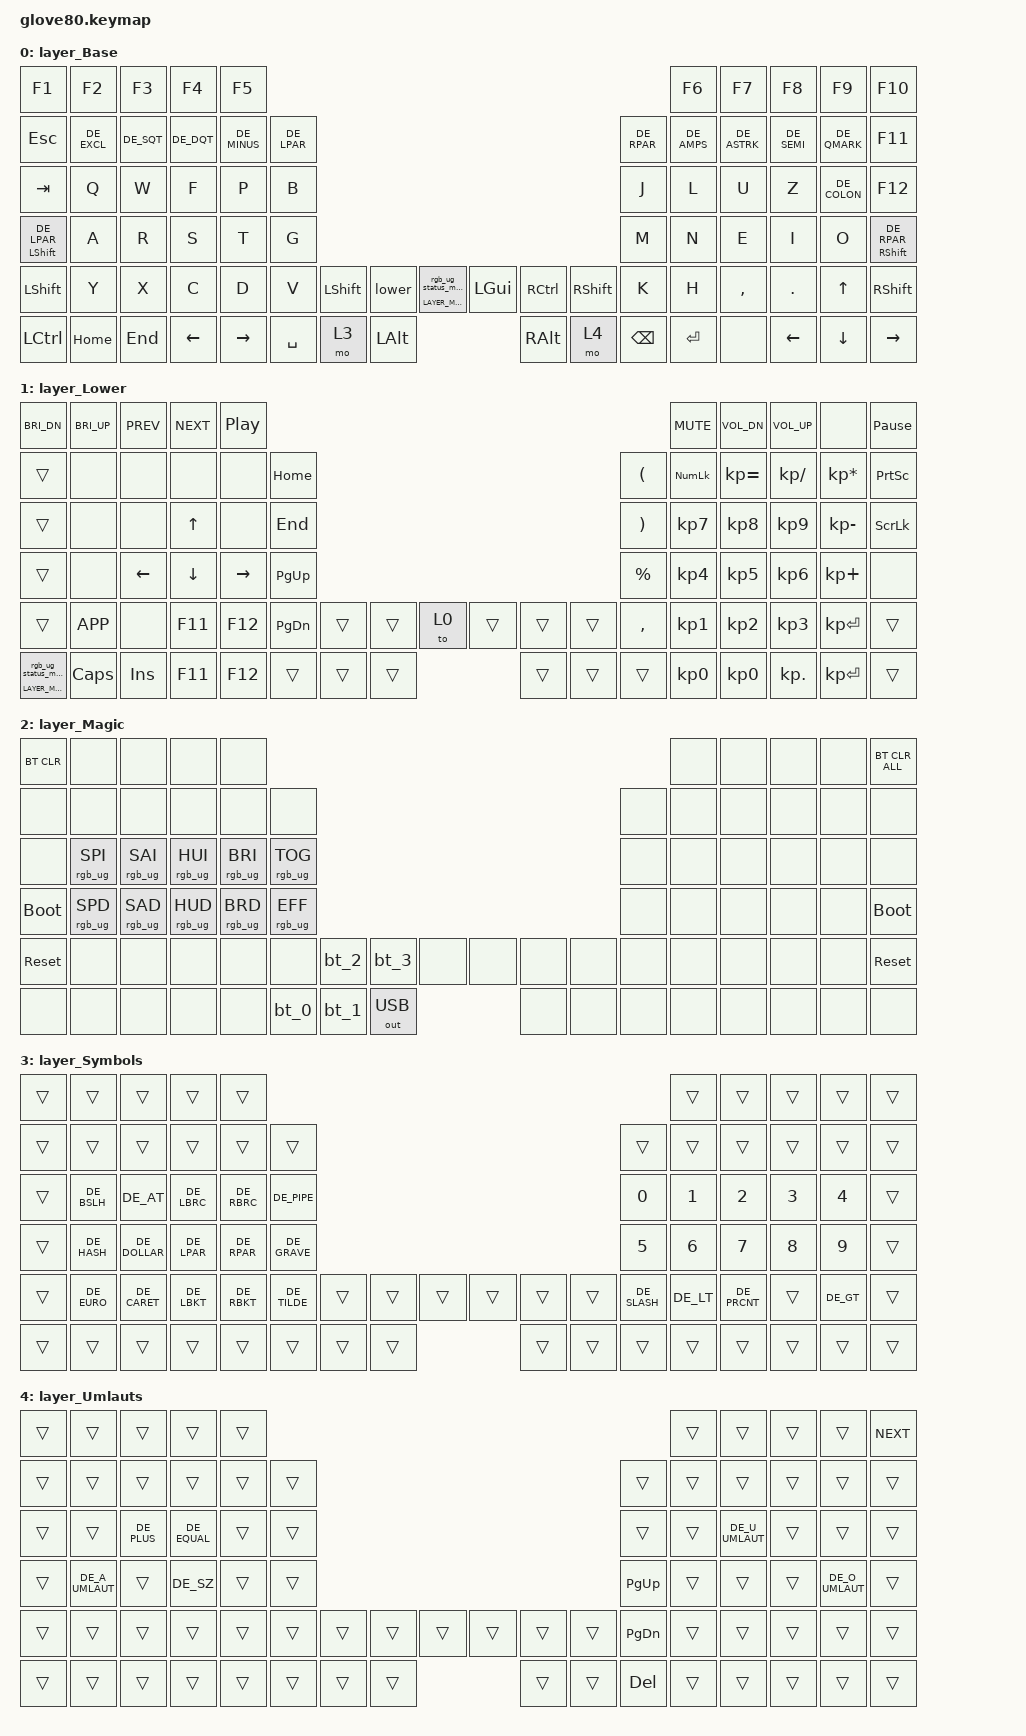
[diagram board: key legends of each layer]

/*
 * Copyright (c) 2020 The ZMK Contributors
 * Copyright (c) 2023 Innaworks Development Limited, trading as MoErgo
 *
 * SPDX-License-Identifier: MIT
 */


/* THIS FILE WAS GENERATED BY GLOVE80 LAYOUT EDITOR
 *
 * This file was generated automatically. You may or may not want to
 * edit it directly.
 */

#include <behaviors.dtsi>
/* Include all behaviour includes needed */
#include <dt-bindings/zmk/outputs.h>
#include <dt-bindings/zmk/keys.h>
#include "keys_de.h"
#include <dt-bindings/zmk/bt.h>
#include <dt-bindings/zmk/rgb.h>

/* Automatically generated layer name #define */
#define LAYER_Base 0
#define LAYER_Lower 1
#define LAYER_Magic 2
#define LAYER_Symbols 3
#define LAYER_Umlauts 4

/* To deal with the situation where there is no Lower layer, to keep &lower happy */
#ifndef LAYER_Lower
#define LAYER_Lower 0
#endif

&lt {
    tapping-term-ms = <200>;
    quick-tap-ms = <100>;
};

/ {
    /* Glove80 system behavior & macros */
    behaviors {
        // For the "layer" key, it'd nice to be able to use it as either a shift or a toggle.
        // Configure it as a tap dance, so the first tap (or hold) is a &mo and the second tap is a &to
        lower: lower {
            compatible = "zmk,behavior-tap-dance";
            label = "LAYER_TAP_DANCE";
            #binding-cells = <0>;
            tapping-term-ms = <200>;
            bindings = <&mo LAYER_Lower>, <&to LAYER_Lower>;
        };
    };
};

/ {
    macros {
        rgb_ug_status_macro: rgb_ug_status_macro {
            label = "RGB_UG_STATUS";
            compatible = "zmk,behavior-macro";
            #binding-cells = <0>;
            bindings
                = <&rgb_ug RGB_STATUS>;
        };

        bt_0: bt_0 {
            label = "BT_0";
            compatible = "zmk,behavior-macro";
            #binding-cells = <0>;
            bindings
                = <&out OUT_BLE>,
                  <&bt BT_SEL 0>;
        };

        bt_1: bt_1 {
            label = "BT_1";
            compatible = "zmk,behavior-macro";
            #binding-cells = <0>;
            bindings
                = <&out OUT_BLE>,
                  <&bt BT_SEL 1>;
        };

        bt_2: bt_2 {
            label = "BT_2";
            compatible = "zmk,behavior-macro";
            #binding-cells = <0>;
            bindings
                = <&out OUT_BLE>,
                  <&bt BT_SEL 2>;
        };

        bt_3: bt_3 {
            label = "BT_3";
            compatible = "zmk,behavior-macro";
            #binding-cells = <0>;
            bindings
                = <&out OUT_BLE>,
                  <&bt BT_SEL 3>;
        };
    };
};

/ {
    magic: magic {
        compatible = "zmk,behavior-hold-tap";
        label = "MAGIC_HOLD_TAP";
        #binding-cells = <2>;
        flavor = "tap-preferred";
        tapping-term-ms = <200>;
        bindings = <&mo>, <&rgb_ug_status_macro>;
    };
};

    /* #define for key positions */
#define POS_LH_T1 52
#define POS_LH_T2 53
#define POS_LH_T3 54
#define POS_LH_T4 69
#define POS_LH_T5 70
#define POS_LH_T6 71
#define POS_LH_C1R2 15
#define POS_LH_C1R3 27
#define POS_LH_C1R4 39
#define POS_LH_C1R5 51
#define POS_LH_C2R1 4
#define POS_LH_C2R2 14
#define POS_LH_C2R3 26
#define POS_LH_C2R4 38
#define POS_LH_C2R5 50
#define POS_LH_C2R6 68
#define POS_LH_C3R1 3
#define POS_LH_C3R2 13
#define POS_LH_C3R3 25
#define POS_LH_C3R4 37
#define POS_LH_C3R5 49
#define POS_LH_C3R6 67
#define POS_LH_C4R1 2
#define POS_LH_C4R2 12
#define POS_LH_C4R3 24
#define POS_LH_C4R4 36
#define POS_LH_C4R5 48
#define POS_LH_C4R6 66
#define POS_LH_C5R1 1
#define POS_LH_C5R2 11
#define POS_LH_C5R3 23
#define POS_LH_C5R4 35
#define POS_LH_C5R5 47
#define POS_LH_C5R6 65
#define POS_LH_C6R1 0
#define POS_LH_C6R2 10
#define POS_LH_C6R3 22
#define POS_LH_C6R4 34
#define POS_LH_C6R5 46
#define POS_LH_C6R6 64
#define POS_RH_T1 57
#define POS_RH_T2 56
#define POS_RH_T3 55
#define POS_RH_T4 74
#define POS_RH_T5 73
#define POS_RH_T6 72
#define POS_RH_C1R2 16
#define POS_RH_C1R3 28
#define POS_RH_C1R4 40
#define POS_RH_C1R5 58
#define POS_RH_C2R1 5
#define POS_RH_C2R2 17
#define POS_RH_C2R3 29
#define POS_RH_C2R4 41
#define POS_RH_C2R5 59
#define POS_RH_C2R6 75
#define POS_RH_C3R1 6
#define POS_RH_C3R2 18
#define POS_RH_C3R3 30
#define POS_RH_C3R4 42
#define POS_RH_C3R5 60
#define POS_RH_C3R6 76
#define POS_RH_C4R1 7
#define POS_RH_C4R2 19
#define POS_RH_C4R3 31
#define POS_RH_C4R4 43
#define POS_RH_C4R5 61
#define POS_RH_C4R6 77
#define POS_RH_C5R1 8
#define POS_RH_C5R2 20
#define POS_RH_C5R3 32
#define POS_RH_C5R4 44
#define POS_RH_C5R5 62
#define POS_RH_C5R6 78
#define POS_RH_C6R1 9
#define POS_RH_C6R2 21
#define POS_RH_C6R3 33
#define POS_RH_C6R4 45
#define POS_RH_C6R5 63
#define POS_RH_C6R6 79

    /* Custom Defined Behaviors */
    
/ {
    combos {
        compatible = "zmk,combos";
        combo_alt_tab {
            timeout-ms = <50>;
            key-positions = <POS_LH_C6R3 POS_LH_C5R3>;
            bindings = <&kp LA(TAB)>;
        };
    };
};

    /* Automatically generated keymap */
/ {
    keymap {
        compatible = "zmk,keymap";


        layer_Base {
            bindings = <
&kp F1                  &kp F2              &kp F3              &kp F4              &kp F5                                                                                                                                                  &kp F6        &kp F7         &kp F8         &kp F9           &kp F10
&kp ESC                 &kp DE_EXCL         &kp DE_SQT          &kp DE_DQT          &kp DE_MINUS        &kp DE_LPAR                                                                                                         &kp DE_RPAR     &kp DE_AMPS  &kp DE_ASTRK  &kp DE_SEMI  &kp DE_QMARK           &kp F11
&kp TAB                 &kp Q               &kp W               &kp F               &kp P               &kp B                                                                                                               &kp J           &kp L         &kp U          &kp Z    &kp DE_COLON           &kp F12
&mt LSHFT DE_LPAR       &kp A               &kp R               &kp S               &kp T               &kp G                                                                                                               &kp M           &kp N         &kp E          &kp I          &kp O  &mt RSHFT DE_RPAR
&kp LSHFT               &kp Y               &kp X               &kp C               &kp D               &kp V                   &kp LSHFT       &lower  &magic LAYER_Magic 0    &kp LGUI        &kp RCTRL   &kp RSHFT       &kp K           &kp H     &kp COMMA        &kp DOT         &kp UP         &kp RSHFT
&kp LCTRL               &kp HOME            &kp END             &kp LEFT            &kp RIGHT                                   &kp SPACE       &mo 3   &kp LALT                &kp RALT        &mo 4       &kp BSPC                        &kp RET         &none       &kp LEFT       &kp DOWN         &kp RIGHT
            >;
        };

        layer_Lower {
            bindings = <
&kp C_BRI_DN            &kp C_BRI_UP        &kp C_PREV          &kp C_NEXT          &kp C_PP                                                                                                                                                &kp C_MUTE  &kp C_VOL_DN  &kp C_VOL_UP            &none  &kp PAUSE_BREAK
&trans                  &none               &none               &none               &none               &kp HOME                                                                                                            &kp LEFT_PARENTHESIS  &kp KP_NUM  &kp KP_EQUAL  &kp KP_SLASH  &kp KP_MULTIPLY  &kp PRINTSCREEN
&trans                  &none               &none               &kp UP_ARROW        &none               &kp END                                                                                                             &kp RIGHT_PARENTHESIS   &kp KP_N7     &kp KP_N8     &kp KP_N9     &kp KP_MINUS   &kp SCROLLLOCK
&trans                  &none               &kp LEFT_ARROW      &kp DOWN_ARROW      &kp RIGHT_ARROW     &kp PG_UP                                                                                                           &kp PERCENT   &kp KP_N4     &kp KP_N5     &kp KP_N6      &kp KP_PLUS            &none
&trans                  &kp K_APP           &none               &kp F11             &kp F12             &kp PG_DN               &trans          &trans  &to 0                   &trans          &trans      &trans          &kp COMMA     &kp KP_N1     &kp KP_N2     &kp KP_N3     &kp KP_ENTER           &trans
&magic LAYER_Magic 0    &kp CAPS            &kp INS             &kp F11             &kp F12                                     &trans          &trans  &trans                  &trans          &trans      &trans                              &kp KP_N0     &kp KP_N0    &kp KP_DOT     &kp KP_ENTER           &trans
            >;
        };

        layer_Magic {
            bindings = <
&bt BT_CLR              &none               &none               &none               &none                                                                                                                                   &none   &none   &none   &none  &bt BT_CLR_ALL
&none                   &none               &none               &none               &none               &none                                                                                                               &none   &none   &none   &none   &none           &none
&none                   &rgb_ug RGB_SPI     &rgb_ug RGB_SAI     &rgb_ug RGB_HUI     &rgb_ug RGB_BRI     &rgb_ug RGB_TOG                                                                                                     &none   &none   &none   &none   &none           &none
&bootloader             &rgb_ug RGB_SPD     &rgb_ug RGB_SAD     &rgb_ug RGB_HUD     &rgb_ug RGB_BRD     &rgb_ug RGB_EFF                                                                                                     &none   &none   &none   &none   &none     &bootloader
&sys_reset              &none               &none               &none               &none               &none                   &bt_2           &bt_3   &none                   &none           &none       &none               &none   &none   &none   &none   &none      &sys_reset
&none                   &none               &none               &none               &none                                       &bt_0           &bt_1   &out OUT_USB            &none           &none       &none               &none   &none   &none   &none           &none
            >;
        };

        layer_Symbols {
            bindings = <
&trans                  &trans              &trans              &trans              &trans                                                                                                                              &trans      &trans  &trans               &trans  &trans
&trans                  &trans              &trans              &trans              &trans              &trans                                                                                                          &trans           &trans      &trans  &trans               &trans  &trans
&trans                  &kp DE_BSLH         &kp DE_AT           &kp DE_LBRC         &kp DE_RBRC         &kp DE_PIPE                                                                                                     &kp N0           &kp N1      &kp N2  &kp N3               &kp N4  &trans
&trans                  &kp DE_HASH         &kp DE_DOLLAR       &kp DE_LPAR         &kp DE_RPAR         &kp DE_GRAVE                                                                                                    &kp N5           &kp N6      &kp N7  &kp N8               &kp N9  &trans
&trans                  &kp DE_EURO         &kp DE_CARET        &kp DE_LBKT         &kp DE_RBKT         &kp DE_TILDE             &trans         &trans  &trans                  &trans          &trans      &trans                              &kp DE_SLASH  &kp DE_LT  &kp DE_PRCNT  &trans  &kp DE_GT  &trans
&trans                  &trans              &trans              &trans              &trans                                       &trans         &trans  &trans                  &trans          &trans      &trans                               &trans  &trans               &trans  &trans &trans
            >;
        };

        layer_Umlauts {
            bindings = <
&trans                  &trans              &trans              &trans              &trans                                                                                                                                                  &trans    &trans  &trans           &trans    &kp K_NEXT
&trans                  &trans              &trans              &trans              &trans              &trans                                                                                                          &trans    &trans  &trans           &trans    &trans      &trans
&trans                  &trans              &kp DE_PLUS         &kp DE_EQUAL        &trans              &trans                                                                                                          &trans    &trans  &kp DE_U_UMLAUT  &trans    &trans      &trans
&trans                  &kp DE_A_UMLAUT     &trans              &kp DE_SZ           &trans              &trans                                                                                                          &kp PG_UP    &trans  &trans           &trans    &kp DE_O_UMLAUT      &trans
&trans                  &trans              &trans              &trans              &trans              &trans                  &trans          &trans  &trans                  &trans          &trans      &trans      &kp PG_DN  &trans    &trans  &trans           &trans      &trans
&trans                  &trans              &trans              &trans              &trans                                      &trans          &trans  &trans                  &trans          &trans      &kp DELETE          &trans    &trans  &trans           &trans      &trans
            >;
        };

    };
};
